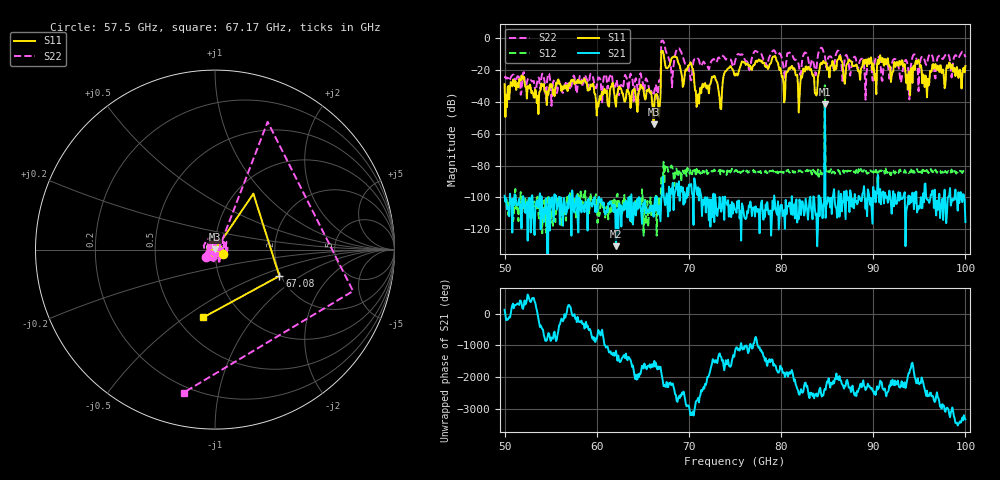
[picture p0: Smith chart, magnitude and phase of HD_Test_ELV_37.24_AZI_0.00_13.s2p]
! 11/25/2026 9:15:12 AM
! C:\ANRITSUVNA\TEMP\TEMP.S2P
! CHANNEL.1
! TR.MEASUREMENT
! RAW.DATA
# HZ S RI R 50.0
! FREQ.HZ  S11RE  S11IM  S21RE  S21IM  S12RE  S12IM  S22RE  S22IM
!; PortSelection: Port_12
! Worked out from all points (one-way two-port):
!   601 points, 50 GHz to 100 GHz, reference 50 ohm
!   highest |S21| = -41.69 dB at 84.75 GHz (marker M1); lowest = -130.5 dB at 62.08 GHz (marker M2)
!   lowest |S11| = -54.2 dB at 66.17 GHz (marker M3), VSWR 1.00, Z = 50.1 + j0.154 ohm
!   |S11| at or under -10 dB: start of sweep to 67 GHz; 67.24 GHz to end of sweep
!   |S22| runs from -42.7 to -1.8 dB; largest |S21 - S12| = 0.04
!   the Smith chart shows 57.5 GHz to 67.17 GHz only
!   S11 on the Smith chart (normalised r, x): 57.5 GHz: 1.09, -0.05; 67.08 GHz: 1.96, -0.68; 67.17 GHz: 0.67, -0.59
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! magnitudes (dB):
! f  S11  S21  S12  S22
! 50 GHz  -29.2  -98.9  -102.1  -25.3
! 57.5 GHz  -26.3  -108.0  -100.8  -23.7
! 58.42 GHz  -27.2  -104.4  -107.5  -29.0
! 60.17 GHz  -43.1  -100.6  -107.4  -24.8
! 62.08 GHz  -43.2  -130.5  -111.6  -28.4
! 66.17 GHz  -54.2  -112.0  -106.0  -35.4
! 66.67 GHz  -41.9  -110.5  -99.5  -32.1
! 67.08 GHz  -8.2  -97.8  -86.2  -1.9
! 67.17 GHz  -8.3  -87.1  -94.1  -1.8
! 70.17 GHz  -15.5  -92.8  -82.7  -25.7
! 70.92 GHz  -40.7  -98.3  -85.0  -13.3
! 75 GHz  -23.7  -107.8  -83.3  -15.0
! 79.25 GHz  -11.8  -98.8  -82.5  -7.9
! 80.25 GHz  -27.6  -110.5  -84.8  -17.7
! 83.42 GHz  -23.8  -113.6  -82.3  -13.8
! 83.83 GHz  -36.2  -110.2  -83.7  -19.5
! 84.75 GHz  -16.0  -41.7  -29.8  -11.2
! 91.67 GHz  -16.7  -100.9  -83.0  -20.5
! 93.75 GHz  -32.6  -103.7  -84.0  -17.3
! 94.83 GHz  -15.0  -107.8  -83.6  -20.3
! 95.83 GHz  -37.4  -101.3  -82.9  -15.9
! 100 GHz  -17.7  -115.4  -83.9  -12.2
